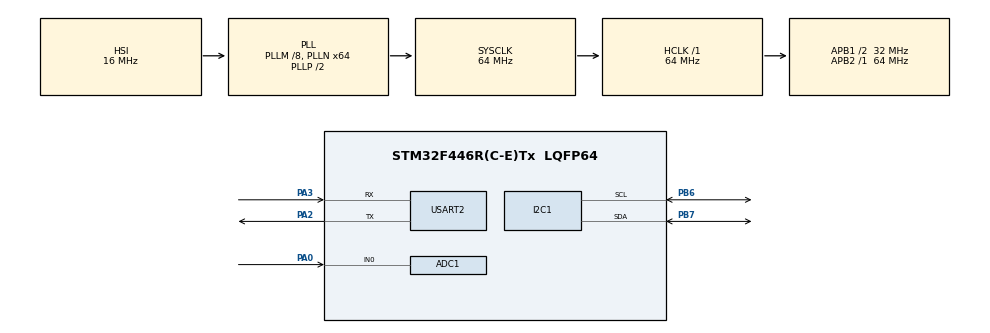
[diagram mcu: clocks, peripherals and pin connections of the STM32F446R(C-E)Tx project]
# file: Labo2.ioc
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ADC1.Channel-0\#ChannelRegularConversion=ADC_CHANNEL_0
ADC1.ClockPrescaler=ADC_CLOCK_SYNC_PCLK_DIV4
ADC1.ContinuousConvMode=ENABLE
ADC1.NbrOfConversion=1
ADC1.NbrOfConversionFlag=1
ADC1.Rank-0\#ChannelRegularConversion=1
ADC1.SamplingTime-0\#ChannelRegularConversion=ADC_SAMPLETIME_3CYCLES
ADC1.master=1
FREERTOS.Queues01=myQueue01,16,uint16_t,0,Dynamic,NULL,NULL
FREERTOS.Tasks01=Task2,24,256,StartTask2,Default,NULL,Dynamic,NULL,NULL;Task03,8,256,StartTask03,Default,NULL,Dynamic,NULL,NULL
I2C1.I2C_Mode=I2C_Fast
Mcu.Family=STM32F4
Mcu.Name=STM32F446R(C-E)Tx
Mcu.Package=LQFP64
NVIC.PriorityGroup=NVIC_PRIORITYGROUP_4
PA0-WKUP.Signal=ADCx_IN0
PA13.Mode=Serial_Wire
PA13.Signal=SYS_JTMS-SWDIO
PA14.Mode=Serial_Wire
PA14.Signal=SYS_JTCK-SWCLK
PA2.Mode=Asynchronous
PA2.Signal=USART2_TX
PA3.Mode=Asynchronous
PA3.Signal=USART2_RX
PB6.Mode=I2C
PB6.Signal=I2C1_SCL
PB7.Mode=I2C
PB7.Signal=I2C1_SDA
PC14-OSC32_IN.Mode=LSE-External-Oscillator
PC14-OSC32_IN.Signal=RCC_OSC32_IN
PC15-OSC32_OUT.Mode=LSE-External-Oscillator
PC15-OSC32_OUT.Signal=RCC_OSC32_OUT
PH0-OSC_IN.Mode=HSE-External-Clock-Source
PH0-OSC_IN.Signal=RCC_OSC_IN
PH1-OSC_OUT.Mode=HSE-External-Clock-Source
PH1-OSC_OUT.Signal=RCC_OSC_OUT
ProjectManager.HeapSize=0x200
ProjectManager.StackSize=0x400
ProjectManager.TargetToolchain=STM32CubeIDE
RCC.48MHZClocksFreq_Value=84000000
RCC.AHBFreq_Value=64000000
RCC.APB1CLKDivider=RCC_HCLK_DIV2
RCC.APB1Freq_Value=32000000
RCC.APB1TimFreq_Value=64000000
RCC.APB2Freq_Value=64000000
RCC.APB2TimFreq_Value=64000000
RCC.CortexFreq_Value=64000000
RCC.FLatency-AdvancedSettings=FLASH_LATENCY_2
RCC.HCLKFreq_Value=64000000
RCC.HSE_VALUE=8000000
RCC.HSI_VALUE=16000000
RCC.PLLM=8
RCC.PLLN=64
RCC.SYSCLKFreq_VALUE=64000000
RCC.SYSCLKSource=RCC_SYSCLKSOURCE_PLLCLK
RCC.USBFreq_Value=64000000
RCC.VCOOutputFreq_Value=128000000
SH.ADCx_IN0.0=ADC1_IN0,IN0
USART2.VirtualMode=VM_ASYNC
VP_FREERTOS_VS_CMSIS_V2.Mode=CMSIS_V2
board=NUCLEO-F446RE

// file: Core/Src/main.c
/* USER CODE BEGIN Header */
/**
  ******************************************************************************
  * @file           : main.c
  * @brief          : Main program body
  ******************************************************************************
  * @attention
  *
  * Copyright (c) 2024 STMicroelectronics.
  * All rights reserved.
  *
  * This software is licensed under terms that can be found in the LICENSE file
  * in the root directory of this software component.
  * If no LICENSE file comes with this software, it is provided AS-IS.
  *
  ******************************************************************************
  */
/* USER CODE END Header */
#include "main.h"
#include "cmsis_os.h"
#include "fonts.h"
#include <stdio.h>
#include "string.h"
#include "ssd1306.h"

ADC_HandleTypeDef hadc1;

I2C_HandleTypeDef hi2c1;

UART_HandleTypeDef huart2;

uint32_t sensorValue = 0;
float fvoltage = 0;
char msg[100];

int uart2_write(int ch)
{
	/*Make sure the transmit data register is empty*/
	while(!(USART2->SR & USART_SR_TXE)){}

	 /*Write to transmit data register*/
	USART2->DR	=  (ch & 0xFF);
	return ch;
}

int __io_putchar(int ch)
{
	uart2_write(ch);
	return ch;
}

/* Definitions for Task2 */
osThreadId_t Task2Handle;
const osThreadAttr_t Task2_attributes = {
  .name = "Task2",
  .stack_size = 256 * 4,
  .priority = (osPriority_t) osPriorityNormal,
};
/* Definitions for Task03 */
osThreadId_t Task03Handle;
const osThreadAttr_t Task03_attributes = {
  .name = "Task03",
  .stack_size = 256 * 4,
  .priority = (osPriority_t) osPriorityLow,
};
/* Definitions for myQueue01 */
osMessageQueueId_t myQueue01Handle;
const osMessageQueueAttr_t myQueue01_attributes = {
  .name = "myQueue01"
};

void SystemClock_Config(void);
static void MX_GPIO_Init(void);
static void MX_ADC1_Init(void);
static void MX_USART2_UART_Init(void);
static void MX_I2C1_Init(void);
void StartTask2(void *argument);
void StartTask03(void *argument);

int main(void)
{
  /* USER CODE BEGIN 1 */

	  /* USER CODE BEGIN SysInit */

	  /* USER CODE END SysInit */

	  /* Initialize all configured peripherals */

	  /* USER CODE BEGIN 2 */

	/* USER CODE BEGIN 1 */
//	  char msg[100];

  /* USER CODE END 1 */

  /* MCU Configuration--------------------------------------------------------*/

  /* Reset of all peripherals, Initializes the Flash interface and the Systick. */
  HAL_Init();

  /* Configure the system clock */
  SystemClock_Config();

  /* Initialize all configured peripherals */
  MX_GPIO_Init();
  MX_ADC1_Init();
  MX_USART2_UART_Init();
  MX_I2C1_Init();

  HAL_ADC_Start(&hadc1);
  /* USER CODE BEGIN 2 */

	/* USER CODE BEGIN 1 */
//	  char msg[100];
  /* USER CODE BEGIN 2 */

	/* USER CODE BEGIN 1 */

  /* USER CODE END 1 */

  /* MCU Configuration--------------------------------------------------------*/

  /* USER CODE BEGIN SysInit */

  /* USER CODE END SysInit */
  /* USER CODE BEGIN 2 */

  SSD1306_Init();

	  /* USER CODE BEGIN 2 */

  /* USER CODE END 1 */

  /* MCU Configuration--------------------------------------------------------*/

//  HAL_ADC_Start(&hadc1);
  /* USER CODE BEGIN Init */

  /* USER CODE END Init */

  /* USER CODE BEGIN SysInit */

  /* USER CODE END SysInit */

  /* Initialize all configured peripherals */
  /* USER CODE BEGIN 2 */

  /* USER CODE END 2 */

  /* Init scheduler */
  osKernelInitialize();

  /* Create the queue(s) */
  /* creation of myQueue01 */
  myQueue01Handle = osMessageQueueNew (16, sizeof(uint16_t), &myQueue01_attributes);

  /* Create the thread(s) */
  /* creation of Task2 */
  Task2Handle = osThreadNew(StartTask2, NULL, &Task2_attributes);

  /* creation of Task03 */
  Task03Handle = osThreadNew(StartTask03, NULL, &Task03_attributes);

  /* Start scheduler */
  osKernelStart();

  /* We should never get here as control is now taken by the scheduler */
  /* Infinite loop */
  while (1)
  {

  }
}

void SystemClock_Config(void)
{
  RCC_OscInitTypeDef RCC_OscInitStruct = {0};
  RCC_ClkInitTypeDef RCC_ClkInitStruct = {0};

  /** Configure the main internal regulator output voltage
  */
  __HAL_RCC_PWR_CLK_ENABLE();
  __HAL_PWR_VOLTAGESCALING_CONFIG(PWR_REGULATOR_VOLTAGE_SCALE3);

  /** Initializes the RCC Oscillators according to the specified parameters
  * in the RCC_OscInitTypeDef structure.
  */
  RCC_OscInitStruct.OscillatorType = RCC_OSCILLATORTYPE_HSI;
  RCC_OscInitStruct.HSIState = RCC_HSI_ON;
  RCC_OscInitStruct.HSICalibrationValue = RCC_HSICALIBRATION_DEFAULT;
  RCC_OscInitStruct.PLL.PLLState = RCC_PLL_ON;
  RCC_OscInitStruct.PLL.PLLSource = RCC_PLLSOURCE_HSI;
  RCC_OscInitStruct.PLL.PLLM = 8;
  RCC_OscInitStruct.PLL.PLLN = 64;
  RCC_OscInitStruct.PLL.PLLP = RCC_PLLP_DIV2;
  RCC_OscInitStruct.PLL.PLLQ = 2;
  RCC_OscInitStruct.PLL.PLLR = 2;
  if (HAL_RCC_OscConfig(&RCC_OscInitStruct) != HAL_OK)
  {
    Error_Handler();
  }

  /** Initializes the CPU, AHB and APB buses clocks
  */
  RCC_ClkInitStruct.ClockType = RCC_CLOCKTYPE_HCLK|RCC_CLOCKTYPE_SYSCLK
                              |RCC_CLOCKTYPE_PCLK1|RCC_CLOCKTYPE_PCLK2;
  RCC_ClkInitStruct.SYSCLKSource = RCC_SYSCLKSOURCE_PLLCLK;
  RCC_ClkInitStruct.AHBCLKDivider = RCC_SYSCLK_DIV1;
  RCC_ClkInitStruct.APB1CLKDivider = RCC_HCLK_DIV2;
  RCC_ClkInitStruct.APB2CLKDivider = RCC_HCLK_DIV1;

  if (HAL_RCC_ClockConfig(&RCC_ClkInitStruct, FLASH_LATENCY_2) != HAL_OK)
  {
    Error_Handler();
  }
}

static void MX_ADC1_Init(void)
{

  ADC_ChannelConfTypeDef sConfig = {0};

  /** Configure the global features of the ADC (Clock, Resolution, Data Alignment and number of conversion)
  */
  hadc1.Instance = ADC1;
  hadc1.Init.ClockPrescaler = ADC_CLOCK_SYNC_PCLK_DIV4;
  hadc1.Init.Resolution = ADC_RESOLUTION_12B;
  hadc1.Init.ScanConvMode = DISABLE;
  hadc1.Init.ContinuousConvMode = ENABLE;
  hadc1.Init.DiscontinuousConvMode = DISABLE;
  hadc1.Init.ExternalTrigConvEdge = ADC_EXTERNALTRIGCONVEDGE_NONE;
  hadc1.Init.ExternalTrigConv = ADC_SOFTWARE_START;
  hadc1.Init.DataAlign = ADC_DATAALIGN_RIGHT;
  hadc1.Init.NbrOfConversion = 1;
  hadc1.Init.DMAContinuousRequests = DISABLE;
  hadc1.Init.EOCSelection = ADC_EOC_SINGLE_CONV;
  if (HAL_ADC_Init(&hadc1) != HAL_OK)
  {
    Error_Handler();
  }

  /** Configure for the selected ADC regular channel its corresponding rank in the sequencer and its sample time.
  */
  sConfig.Channel = ADC_CHANNEL_0;
  sConfig.Rank = 1;
  sConfig.SamplingTime = ADC_SAMPLETIME_3CYCLES;
  if (HAL_ADC_ConfigChannel(&hadc1, &sConfig) != HAL_OK)
  {
    Error_Handler();
  }

}

static void MX_I2C1_Init(void)
{

  hi2c1.Instance = I2C1;
  hi2c1.Init.ClockSpeed = 400000;
  hi2c1.Init.DutyCycle = I2C_DUTYCYCLE_2;
  hi2c1.Init.OwnAddress1 = 0;
  hi2c1.Init.AddressingMode = I2C_ADDRESSINGMODE_7BIT;
  hi2c1.Init.DualAddressMode = I2C_DUALADDRESS_DISABLE;
  hi2c1.Init.OwnAddress2 = 0;
  hi2c1.Init.GeneralCallMode = I2C_GENERALCALL_DISABLE;
  hi2c1.Init.NoStretchMode = I2C_NOSTRETCH_DISABLE;
  if (HAL_I2C_Init(&hi2c1) != HAL_OK)
  {
    Error_Handler();
  }

}

static void MX_USART2_UART_Init(void)
{

  huart2.Instance = USART2;
  huart2.Init.BaudRate = 115200;
  huart2.Init.WordLength = UART_WORDLENGTH_8B;
  huart2.Init.StopBits = UART_STOPBITS_1;
  huart2.Init.Parity = UART_PARITY_NONE;
  huart2.Init.Mode = UART_MODE_TX_RX;
  huart2.Init.HwFlowCtl = UART_HWCONTROL_NONE;
  huart2.Init.OverSampling = UART_OVERSAMPLING_16;
  if (HAL_UART_Init(&huart2) != HAL_OK)
  {
    Error_Handler();
  }

}

static void MX_GPIO_Init(void)
{

  /* GPIO Ports Clock Enable */
  __HAL_RCC_GPIOC_CLK_ENABLE();
  __HAL_RCC_GPIOH_CLK_ENABLE();
  __HAL_RCC_GPIOA_CLK_ENABLE();
  __HAL_RCC_GPIOB_CLK_ENABLE();

}

void StartTask2(void *argument)
{
  /* USER CODE BEGIN 5 */
	/* Reset of all peripherals, Initializes the Flash interface and the Systick. */

	  char snum[5];

//	  SSD1306_GotoXY (0,0);
//	  SSD1306_Puts ("NIZAR", &Font_11x18, 1);
//	  SSD1306_GotoXY (0, 30);
//	  SSD1306_Puts ("MOHIDEEN", &Font_11x18, 1);
//	  SSD1306_UpdateScreen();
//	  HAL_Delay (1000);

	  SSD1306_ScrollRight(0,7);
	  HAL_Delay(3000);
	  SSD1306_ScrollLeft(0,7);
	  HAL_Delay(3000);
	  SSD1306_Stopscroll();
	  SSD1306_Clear();
	  SSD1306_GotoXY (35,0);
	  SSD1306_Puts ("SCORE", &Font_11x18, 1);
  /* Infinite loop */
  for(;;)
  {
	  for ( int x = 1; x <= 10000 ; x++ )
	  	  	{
	  	  		itoa(x, snum, 10);
	  	  		SSD1306_GotoXY (0, 30);
	  	  		SSD1306_Puts ("             ", &Font_16x26, 1);
	  	  		SSD1306_UpdateScreen();
	  	  		if(x < 10) {
	  	  			SSD1306_GotoXY (53, 30);  // 1 DIGIT
	  	  		}
	  	  		else if (x < 100 ) {
	  	  			SSD1306_GotoXY (45, 30);  // 2 DIGITS
	  	  		}
	  	  		else if (x < 1000 ) {
	  	  			SSD1306_GotoXY (37, 30);  // 3 DIGITS
	  	  		}
	  	  		else {
	  	  			SSD1306_GotoXY (30, 30);  // 4 DIGIS
	  	  		}
	  	  		SSD1306_Puts (snum, &Font_16x26, 1);
	  	  		//SSD1306_Puts ("123", &Font_16x26, 1);
	  	  		SSD1306_UpdateScreen();
	  	  		HAL_Delay (500);
	  	  }
//    osDelay(1);
  }
  /* USER CODE END 5 */
}

/* USER CODE BEGIN Header_StartTask03 */
/**
 *
* @brief Function implementing the Task03 thread.
* @param argument: Not used
* @retval None
*/

/* USER CODE END Header_StartTask03 */
void StartTask03(void *argument)
{
  /* USER CODE BEGIN StartTask03 */
//	HAL_ADC_Start(&hadc1);
//	char msg[100];
//	HAL_ADC_Start(&hadc1);
  /* Infinite loop */
  for(;;)
  {

	  /*1. Start ADC */
	  	 HAL_ADC_Start(&hadc1);

	  	 /*2. Poll for conversion */
	  	 HAL_ADC_PollForConversion(&hadc1,1);

	  	 /*3. Get conversion */
	  	 sensorValue = HAL_ADC_GetValue(&hadc1);
	  	 fvoltage = (float)sensorValue * (3.3/4095.0);

	  sprintf(msg, "%.2f V", fvoltage);
	  HAL_UART_Transmit(&huart2, (uint8_t*)msg, strlen(msg), HAL_MAX_DELAY);

	  	  SSD1306_GotoXY (0,30);
	  	  SSD1306_UpdateScreen();
	  	  SSD1306_Puts (msg, &Font_11x18, 1);
	  	  SSD1306_UpdateScreen();
	  	  HAL_Delay (500);

	  //HAL_Delay(1);
//    osDelay(1);
  }
  /* USER CODE END StartTask03 */
}

void Error_Handler(void)
{
  __disable_irq();
  while (1)
  {
  }
}
